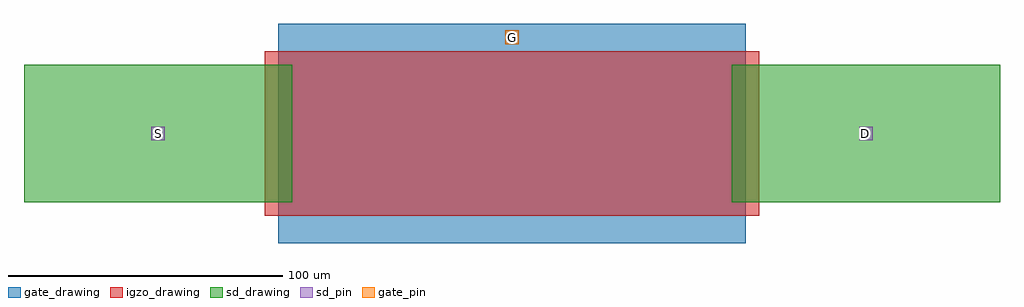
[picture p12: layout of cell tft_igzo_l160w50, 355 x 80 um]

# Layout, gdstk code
import gdstk
lib = gdstk.Library(unit=1e-6, precision=1e-09)
def R(c, l, rs):  # rectangles x0, y0, x1, y1
    for r in rs: c.add(gdstk.rectangle(r[:2], r[2:], *l))
gate_drawing = (2, 0)
gate_pin = (2, 10)
igzo_drawing = (4, 0)
sd_drawing = (6, 0)
sd_pin = (6, 10)

tft_igzo_l160w50 = lib.new_cell('tft_igzo_l160w50')
R(tft_igzo_l160w50, gate_drawing, [(-85,-40,85,40)])
R(tft_igzo_l160w50, gate_pin, [(-2.5,32.5,2.5,37.5)])
R(tft_igzo_l160w50, igzo_drawing, [(-90,-30,90,30)])
R(tft_igzo_l160w50, sd_drawing, [(-177.5,-25,-80,25), (80,-25,177.5,25)])
R(tft_igzo_l160w50, sd_pin, [(-131.25,-2.5,-126.25,2.5), (126.25,-2.5,131.25,2.5)])
tft_igzo_l160w50.add(gdstk.Label('S', (-128.75,0), layer=6, texttype=10))
tft_igzo_l160w50.add(gdstk.Label('D', (128.75,0), layer=6, texttype=10))
tft_igzo_l160w50.add(gdstk.Label('G', (0,35), layer=2, texttype=10))

lib.write_gds('tft_igzo_l160w50.gds')
